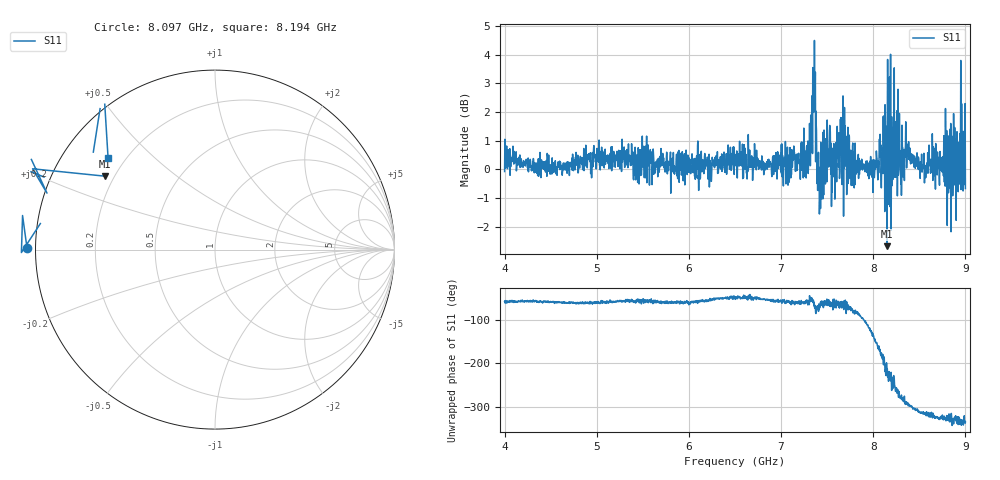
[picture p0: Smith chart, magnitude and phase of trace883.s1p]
! Created with skrf 1.8.0 (http://scikit-rf.org).
# Hz S RI R 50.0
!freq ReS11 ImS11
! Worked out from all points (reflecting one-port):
!   1601 points, 4 GHz to 9 GHz, reference 50 ohm
!   lowest |S11| = -2.7 dB at 8.15 GHz (marker M1), VSWR 6.55, Z = 8.32 + j14.8 ohm
!   phase of S11 starts at -58 deg and turns -277 deg over the sweep
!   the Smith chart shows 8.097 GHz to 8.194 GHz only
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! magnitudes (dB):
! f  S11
! 4 GHz  -0.1
! 4.625 GHz  -0.2
! 5.25 GHz  0.0
! 5.875 GHz  0.2
! 6.5 GHz  0.5
! 7.125 GHz  0.3
! 7.294 GHz  -0.1
! 7.316 GHz  0.1
! 7.347 GHz  3.1
! 7.359 GHz  2.7
! 7.369 GHz  2.4
! 7.4 GHz  0.5
! 7.428 GHz  -1.4
! 7.509 GHz  0.7
! 7.562 GHz  0.7
! 7.669 GHz  1.1
! 7.75 GHz  -0.3
! 8 GHz  -0.1
! 8.15 GHz  -2.7
! 8.178 GHz  3.2
! 8.197 GHz  0.2
! 8.266 GHz  0.6
! 8.312 GHz  1.5
! 8.375 GHz  0.7
! 8.553 GHz  0.2
! 8.903 GHz  1.1
! 8.972 GHz  1.0
! 9 GHz  -0.7
